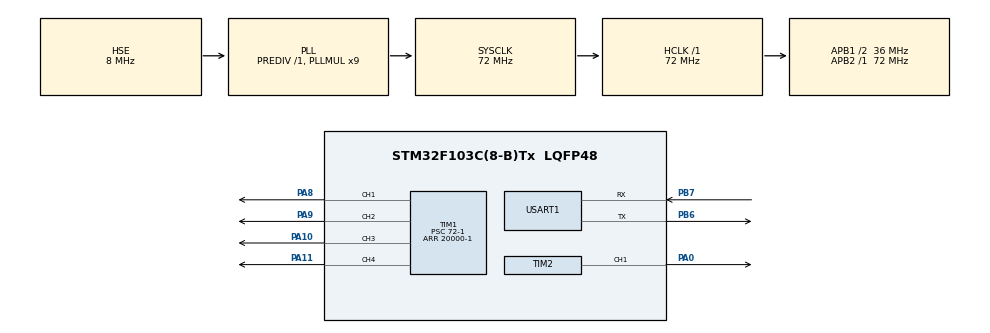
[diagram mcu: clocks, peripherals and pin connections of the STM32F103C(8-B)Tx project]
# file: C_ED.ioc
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Dma.Request0=USART1_RX
Dma.USART1_RX.0.Direction=DMA_PERIPH_TO_MEMORY
Dma.USART1_RX.0.Instance=DMA1_Channel5
Dma.USART1_RX.0.MemDataAlignment=DMA_MDATAALIGN_BYTE
Dma.USART1_RX.0.MemInc=DMA_MINC_ENABLE
Dma.USART1_RX.0.Mode=DMA_CIRCULAR
Dma.USART1_RX.0.PeriphDataAlignment=DMA_PDATAALIGN_BYTE
Dma.USART1_RX.0.PeriphInc=DMA_PINC_DISABLE
Dma.USART1_RX.0.Priority=DMA_PRIORITY_MEDIUM
Mcu.Family=STM32F1
Mcu.Name=STM32F103C(8-B)Tx
Mcu.Package=LQFP48
NVIC.DMA1_Channel5_IRQn=true\:0\:0\:false\:false\:true\:false\:true\:true
NVIC.PriorityGroup=NVIC_PRIORITYGROUP_4
NVIC.TIM1_BRK_IRQn=true\:0\:0\:false\:false\:true\:true\:true\:true
NVIC.TIM1_CC_IRQn=true\:0\:0\:false\:false\:true\:true\:true\:true
NVIC.TIM1_TRG_COM_IRQn=true\:0\:0\:false\:false\:true\:true\:true\:true
NVIC.TIM1_UP_IRQn=true\:0\:0\:false\:false\:true\:true\:true\:true
NVIC.TIM2_IRQn=true\:0\:0\:false\:false\:true\:true\:true\:true
NVIC.TIM3_IRQn=true\:5\:0\:true\:false\:true\:true\:true\:true
NVIC.USART1_IRQn=true\:2\:0\:true\:false\:true\:true\:true\:true
PA0-WKUP.Signal=S_TIM2_CH1_ETR
PA10.Signal=S_TIM1_CH3
PA11.Signal=S_TIM1_CH4
PA13.Mode=Serial_Wire
PA13.Signal=SYS_JTMS-SWDIO
PA14.Mode=Serial_Wire
PA14.Signal=SYS_JTCK-SWCLK
PA8.Signal=S_TIM1_CH1
PA9.Signal=S_TIM1_CH2
PB6.Mode=Asynchronous
PB6.Signal=USART1_TX
PB7.Mode=Asynchronous
PB7.Signal=USART1_RX
PC14-OSC32_IN.Mode=LSE-External-Oscillator
PC14-OSC32_IN.Signal=RCC_OSC32_IN
PC15-OSC32_OUT.Mode=LSE-External-Oscillator
PC15-OSC32_OUT.Signal=RCC_OSC32_OUT
PD0-OSC_IN.Mode=HSE-External-Oscillator
PD0-OSC_IN.Signal=RCC_OSC_IN
PD1-OSC_OUT.Mode=HSE-External-Oscillator
PD1-OSC_OUT.Signal=RCC_OSC_OUT
ProjectManager.HeapSize=0x200
ProjectManager.StackSize=0x400
ProjectManager.TargetToolchain=MDK-ARM V5.32
RCC.AHBFreq_Value=72000000
RCC.APB1CLKDivider=RCC_HCLK_DIV2
RCC.APB1Freq_Value=36000000
RCC.APB1TimFreq_Value=72000000
RCC.APB2Freq_Value=72000000
RCC.APB2TimFreq_Value=72000000
RCC.HCLKFreq_Value=72000000
RCC.PLLMUL=RCC_PLL_MUL9
RCC.PLLSourceVirtual=RCC_PLLSOURCE_HSE
RCC.SYSCLKFreq_VALUE=72000000
RCC.SYSCLKSource=RCC_SYSCLKSOURCE_PLLCLK
RCC.USBFreq_Value=72000000
SH.S_TIM1_CH1.0=TIM1_CH1,PWM Generation1 CH1
SH.S_TIM1_CH2.0=TIM1_CH2,PWM Generation2 CH2
SH.S_TIM1_CH3.0=TIM1_CH3,PWM Generation3 CH3
SH.S_TIM1_CH4.0=TIM1_CH4,PWM Generation4 CH4
SH.S_TIM2_CH1_ETR.0=TIM2_CH1,PWM Generation1 CH1
TIM1.AutoReloadPreload=TIM_AUTORELOAD_PRELOAD_ENABLE
TIM1.Channel-PWM\ Generation1\ CH1=TIM_CHANNEL_1
TIM1.Channel-PWM\ Generation2\ CH2=TIM_CHANNEL_2
TIM1.Channel-PWM\ Generation3\ CH3=TIM_CHANNEL_3
TIM1.Channel-PWM\ Generation4\ CH4=TIM_CHANNEL_4
TIM1.Period=20000-1
TIM1.Prescaler=72-1
TIM2.AutoReloadPreload=TIM_AUTORELOAD_PRELOAD_ENABLE
TIM2.Channel-PWM\ Generation1\ CH1=TIM_CHANNEL_1
TIM2.Period=20000-1
TIM2.Prescaler=72-1
TIM3.AutoReloadPreload=TIM_AUTORELOAD_PRELOAD_ENABLE
TIM3.Period=100-1
TIM3.Prescaler=720-1
USART1.VirtualMode=VM_ASYNC
VP_TIM3_VS_ClockSourceINT.Mode=Internal
board=custom

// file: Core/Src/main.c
/* USER CODE BEGIN Header */
/**
  ******************************************************************************
  * @file           : main.c
  * @brief          : Main program body
  ******************************************************************************
  * @attention
  *
  * Copyright (c) 2024 STMicroelectronics.
  * All rights reserved.
  *
  * This software is licensed under terms that can be found in the LICENSE file
  * in the root directory of this software component.
  * If no LICENSE file comes with this software, it is provided AS-IS.
  *
  ******************************************************************************
  */
/* USER CODE END Header */
#include "main.h"
#include "dma.h"
#include "tim.h"
#include "usart.h"
#include "gpio.h"

/* USER CODE BEGIN Includes */
#include "Variable_Includes.h"
/* USER CODE END Includes */

void SystemClock_Config(void);

int main(void)
{

  /* MCU Configuration--------------------------------------------------------*/

  /* Reset of all peripherals, Initializes the Flash interface and the Systick. */
  HAL_Init();

  /* Configure the system clock */
  SystemClock_Config();

  /* Initialize all configured peripherals */
  MX_GPIO_Init();
  MX_DMA_Init();
  MX_TIM1_Init();
  MX_TIM3_Init();
  MX_USART1_UART_Init();
  MX_TIM2_Init();
  /* USER CODE BEGIN 2 */
Servo_Init();
  setup_kinematics(105,173,130,0);
  tx_data[0]=0;
//  HAL_UART_Receive_DMA(&huart1, rx_data, 8);
  /* USER CODE END 2 */

  /* Infinite loop */
  while (1)
  {

    /* USER CODE BEGIN 3 */
	  	  HAL_UART_Receive_DMA(&huart1, rx_data, 10);

	  if(t)
	  {
		  Position.x = 0;
		  Position.y = 150;
		  Position.z = 0;
		  HAL_Delay(1000);
		  Position.x = X1;
		  Position.y = Y1;
		  Position.z = 0;
		  HAL_Delay(1500);
		  if(((Position.y<211)&&(Position.y>89))&&((Position.x<61)&&(Position.x>-61))) Position.z = 40;
		  else if(((Position.y<231)&&(Position.y>74))&&((Position.x<111)&&(Position.x>-111))) Position.z = 55;
		  else Position.z = 0;
		  HAL_Delay(500);
		  PWM5 = 20000;
		  HAL_Delay(500);
		  Position.z = 0;
		  HAL_Delay(500);
		  Position.x = 0;
		  Position.y = 150;
		  Position.z = 0;
		  HAL_Delay(1000);
		  Position.x = X2;
		  Position.y = Y2;
		  HAL_Delay(1000);
		  if(((Position.y<211)&&(Position.y>89))&&((Position.x<61)&&(Position.x>-61))) Position.z  = 40;
			  else if(((Position.y<231)&&(Position.y>74))&&((Position.x<111)&&(Position.x>-111))) Position.z = 55;
		  else Position.z = 0;
		  HAL_Delay(500);
		  PWM5 = 0;
		  HAL_Delay(100);
		  Position.z = 0;
		  HAL_Delay(500);
		  Position.x = -100;
		  Position.y = 0;
		  HAL_Delay(1000);
		  t=0;
	  }
	HAL_Delay(10);
  }
  /* USER CODE END 3 */
}

void SystemClock_Config(void)
{
  RCC_OscInitTypeDef RCC_OscInitStruct = {0};
  RCC_ClkInitTypeDef RCC_ClkInitStruct = {0};

  /** Initializes the RCC Oscillators according to the specified parameters
  * in the RCC_OscInitTypeDef structure.
  */
  RCC_OscInitStruct.OscillatorType = RCC_OSCILLATORTYPE_HSE;
  RCC_OscInitStruct.HSEState = RCC_HSE_ON;
  RCC_OscInitStruct.HSEPredivValue = RCC_HSE_PREDIV_DIV1;
  RCC_OscInitStruct.HSIState = RCC_HSI_ON;
  RCC_OscInitStruct.PLL.PLLState = RCC_PLL_ON;
  RCC_OscInitStruct.PLL.PLLSource = RCC_PLLSOURCE_HSE;
  RCC_OscInitStruct.PLL.PLLMUL = RCC_PLL_MUL9;
  if (HAL_RCC_OscConfig(&RCC_OscInitStruct) != HAL_OK)
  {
    Error_Handler();
  }

  /** Initializes the CPU, AHB and APB buses clocks
  */
  RCC_ClkInitStruct.ClockType = RCC_CLOCKTYPE_HCLK|RCC_CLOCKTYPE_SYSCLK
                              |RCC_CLOCKTYPE_PCLK1|RCC_CLOCKTYPE_PCLK2;
  RCC_ClkInitStruct.SYSCLKSource = RCC_SYSCLKSOURCE_PLLCLK;
  RCC_ClkInitStruct.AHBCLKDivider = RCC_SYSCLK_DIV1;
  RCC_ClkInitStruct.APB1CLKDivider = RCC_HCLK_DIV2;
  RCC_ClkInitStruct.APB2CLKDivider = RCC_HCLK_DIV1;

  if (HAL_RCC_ClockConfig(&RCC_ClkInitStruct, FLASH_LATENCY_2) != HAL_OK)
  {
    Error_Handler();
  }
}

/* USER CODE BEGIN 4 */
void HAL_TIM_PeriodElapsedCallback(TIM_HandleTypeDef *htim)
{

	if(htim == &htim3)//计数定时器中断
	{
		caculate(Position.x,Position.y,z);
		Servo_Set();
		__HAL_TIM_SetCompare(&htim1, TIM_CHANNEL_1, PWM1);
		__HAL_TIM_SetCompare(&htim1, TIM_CHANNEL_2, PWM2);
		__HAL_TIM_SetCompare(&htim1, TIM_CHANNEL_3, PWM3);
		__HAL_TIM_SetCompare(&htim1, TIM_CHANNEL_4, PWM4);
		__HAL_TIM_SetCompare(&htim2, TIM_CHANNEL_1, PWM5);

	}
}

//// 串口中断接收回调函数
void HAL_UART_RxCpltCallback(UART_HandleTypeDef *huart)
{
	if(huart->Instance == USART1)
	{
		if(!t)
		{
			for(int i=0;i<10;++i)
			{
				if(rx_data[(i+7)%10] == 'E' && rx_data[(i+8)%10] == 'O' && rx_data[(i+9)%10] == 'M')
				{
					x = 155;
					y = 88;
					tt2 = rx_data[(i+2)%8];
					X1 = ( rx_data[(i+4)%8] - y ) *3 / 4 ;
					if(X1>100) X1 = -97;
					Y1 = 150 + ( x - rx_data[(i+3)%8] ) *3 / 4 ;
					X2 = ( rx_data[(i+6)%8] - y ) *3 / 4 ;
					if(X2>100) X2 = -97;
					Y2 = 150 + ( x - rx_data[(i+5)%8] ) *3 / 4 ;
					if(tt1 != tt2) {t=1; tt1 = tt2;}
					break;
				}
			}
		}
	}
}
/* USER CODE END 4 */

void Error_Handler(void)
{
  __disable_irq();
  while (1)
  {
  }
}
